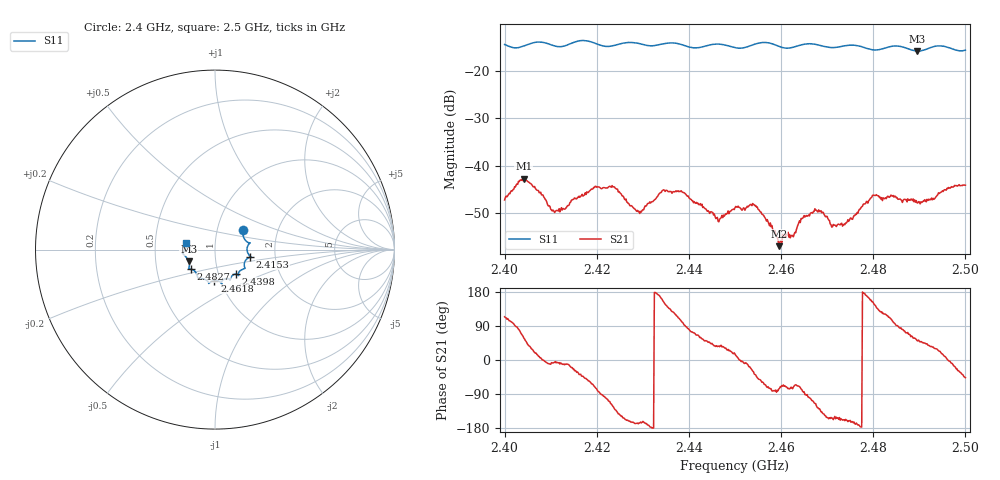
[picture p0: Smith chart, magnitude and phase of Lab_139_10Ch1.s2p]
# Hz S RI R 50
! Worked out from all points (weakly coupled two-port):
!   601 points, 2.4 GHz to 2.5 GHz, reference 50 ohm
!   highest |S21| = -42.69 dB at 2.4042 GHz (marker M1); lowest = -56.9 dB at 2.4595 GHz (marker M2)
!   lowest |S11| = -15.9 dB at 2.4895 GHz (marker M3), VSWR 1.38, Z = 37 - j5.02 ohm
!   |S11| at or under -10 dB: start of sweep to end of sweep
!   S12 and S22 are empty: the file has one direction only
!   S11 on the Smith chart (normalised r, x): 2.4 GHz: 1.33, +0.29; 2.4153 GHz: 1.48, -0.12; 2.4398 GHz: 1.21, -0.34; 2.4618 GHz: 0.94, -0.33; 2.4827 GHz: 0.75, -0.17; 2.5 GHz: 0.72, +0.06
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2.4e9  0.155 0.1067  -0.00178 0.00399  0 0  0 0
2.404167e9  0.1756 0.0457  0.00389 0.00622  0 0  0 0
2.4105e9  0.1827 0.0214  0.00339 -0.000478  0 0  0 0
2.415333e9  0.1967 -0.039  0.00403 -0.00211  0 0  0 0
2.416667e9  0.2027 -0.0431  0.0036 -0.00325  0 0  0 0
2.423333e9  0.1628 -0.0807  -0.00302 -0.00539  0 0  0 0
2.429167e9  0.1606 -0.1069  -0.00323 -0.000777  0 0  0 0
2.433333e9  0.1298 -0.134  -0.00485 0.000681  0 0  0 0
2.434833e9  0.1292 -0.143  -0.00454 0.00287  0 0  0 0
2.439833e9  0.1153 -0.1358  0.000588 0.00477  0 0  0 0
2.446333e9  0.0846 -0.1704  0.0021 0.00153  0 0  0 0
2.45e9  0.0653 -0.1621  0.00349 0.00097  0 0  0 0
2.454333e9  0.0356 -0.1866  0.00298 -0.00234  0 0  0 0
2.4595e9  0.0263 -0.178  0.000335 -0.00139  0 0  0 0
2.461833e9  -0.00313 -0.1727  0.000455 -0.00184  0 0  0 0
2.466667e9  -0.0348 -0.1881  -0.000944 -0.00308  0 0  0 0
2.473333e9  -0.0835 -0.1602  -0.00216 -0.000845  0 0  0 0
2.479833e9  -0.1086 -0.1249  -0.00441 0.0021  0 0  0 0
2.482667e9  -0.135 -0.1089  -0.00236 0.00396  0 0  0 0
2.483333e9  -0.1402 -0.1085  -0.00182 0.00433  0 0  0 0
2.4895e9  -0.1461 -0.0661  0.00254 0.00319  0 0  0 0
2.5e9  -0.1594 0.0389  0.00428 -0.00455  0 0  0 0
